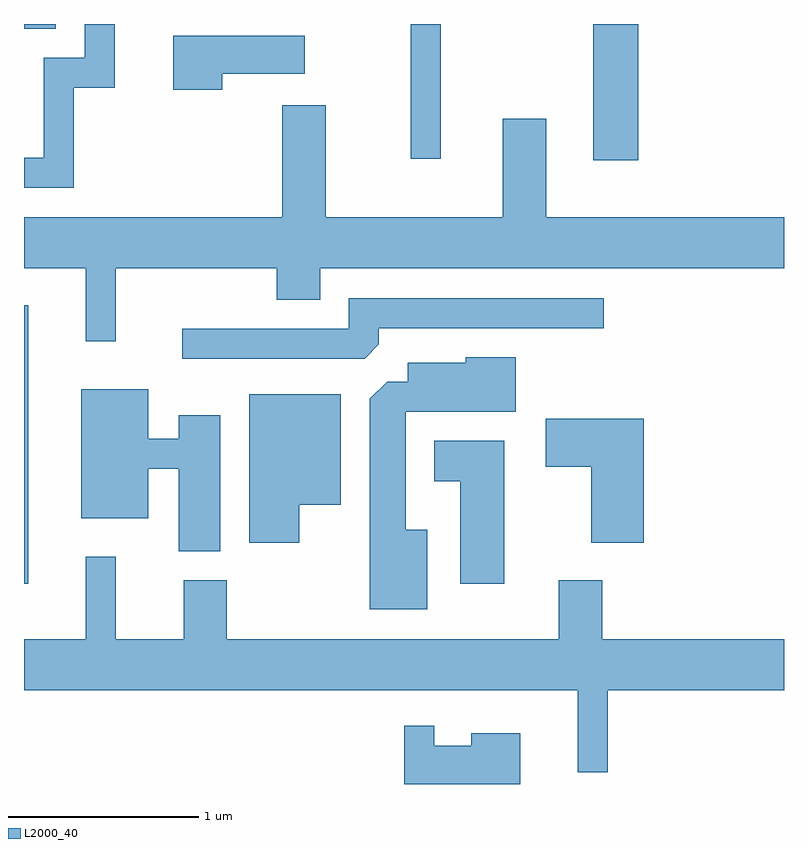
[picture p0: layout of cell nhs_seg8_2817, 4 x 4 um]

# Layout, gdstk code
import gdstk
lib = gdstk.Library(unit=1e-6, precision=1e-09)
def R(c, l, rs):  # rectangles x0, y0, x1, y1
    for r in rs: c.add(gdstk.rectangle(r[:2], r[2:], *l))
def P(c, l, *ps):  # polygons
    for p in ps: c.add(gdstk.Polygon(p, *l))
L2000_40 = (2000, 40)

nhs_seg8_2817 = lib.new_cell('nhs_seg8_2817')
R(nhs_seg8_2817, L2000_40, [(269.611,1861.396,269.634,1862.863), (272.606,1863.626,272.844,1864.342), (271.646,1863.633,271.804,1864.342), (269.611,1864.316,269.779,1864.342)])
P(nhs_seg8_2817, L2000_40, [(269.874,1864.006),(270.089,1864.006),(270.089,1864.342),(269.931,1864.342),(269.931,1864.164),(269.716,1864.164),(269.716,1863.639),(269.611,1863.639),(269.611,1863.481),(269.874,1863.481)],
  [(270.654,1864.081),(271.089,1864.081),(271.089,1864.279),(270.396,1864.279),(270.396,1863.996),(270.654,1863.996)],
  [(270.094,1863.056),(270.941,1863.056),(270.941,1862.891),(271.169,1862.891),(271.169,1863.056),(273.611,1863.056),(273.611,1863.324),(272.359,1863.324),(272.359,1863.844),(272.131,1863.844),(272.131,1863.324),(271.199,1863.324),(271.199,1863.914),(270.971,1863.914),(270.971,1863.324),(269.611,1863.324),(269.611,1863.056),(269.936,1863.056),(269.936,1862.673),(270.094,1862.673)],
  [(271.479,1862.657),(271.479,1862.741),(272.663,1862.741),(272.663,1862.899),(271.321,1862.899),(271.321,1862.739),(270.443,1862.739),(270.443,1862.581),(271.404,1862.581)],
  [(271.734,1861.679),(271.619,1861.679),(271.619,1862.301),(272.199,1862.301),(272.199,1862.589),(271.936,1862.589),(271.936,1862.559),(271.631,1862.559),(271.631,1862.459),(271.522,1862.459),(271.431,1862.369),(271.431,1861.261),(271.734,1861.261)],
  [(270.644,1862.284),(270.426,1862.284),(270.426,1862.159),(270.264,1862.159),(270.264,1862.419),(269.911,1862.419),(269.911,1861.741),(270.264,1861.741),(270.264,1862.001),(270.426,1862.001),(270.426,1861.566),(270.644,1861.566)],
  [(271.059,1861.811),(271.279,1861.811),(271.279,1862.394),(270.796,1862.394),(270.796,1861.611),(271.059,1861.611)],
  [(272.874,1862.264),(272.356,1862.264),(272.356,1862.011),(272.596,1862.011),(272.596,1861.611),(272.874,1861.611)],
  [(272.139,1862.149),(271.771,1862.149),(271.771,1861.936),(271.906,1861.936),(271.906,1861.396),(272.139,1861.396)],
  [(272.684,1860.836),(273.611,1860.836),(273.611,1861.104),(272.654,1861.104),(272.654,1861.414),(272.426,1861.414),(272.426,1861.104),(270.679,1861.104),(270.679,1861.414),(270.451,1861.414),(270.451,1861.104),(270.094,1861.104),(270.094,1861.538),(269.936,1861.538),(269.936,1861.104),(269.611,1861.104),(269.611,1860.836),(272.526,1860.836),(272.526,1860.403),(272.684,1860.403)],
  [(272.224,1860.609),(271.966,1860.609),(271.966,1860.544),(271.769,1860.544),(271.769,1860.648),(271.611,1860.648),(271.611,1860.342),(272.224,1860.342)])

lib.write_gds('nhs_seg8_2817.gds')
